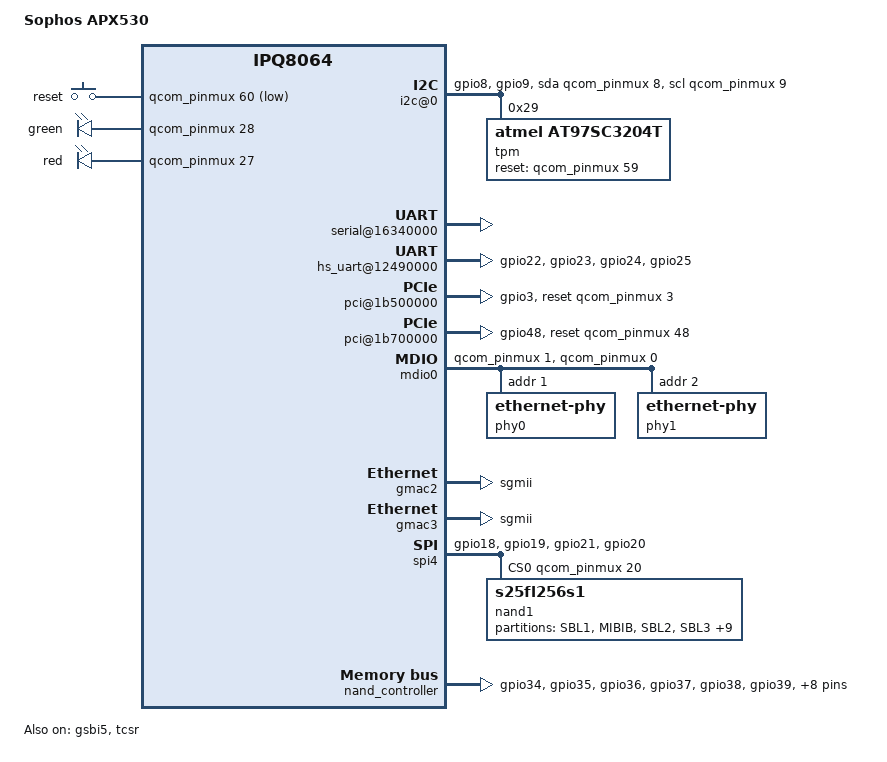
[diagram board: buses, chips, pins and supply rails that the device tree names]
// SPDX-License-Identifier: GPL-2.0-or-later OR MIT

#include "qcom-ipq8064-v1.0.dtsi"
#include <dt-bindings/interrupt-controller/arm-gic.h>
#include <dt-bindings/interrupt-controller/irq.h>
#include <dt-bindings/input/input.h>
#include <dt-bindings/gpio/gpio.h>

/ {
	model = "Sophos APX530";
	compatible = "sophos,apx530", "qcom,ipq8064";

	reserved-memory {
		#address-cells = <1>;
		#size-cells = <1>;
		ranges;
		rsvd@41200000 {
			reg = <0x41200000 0x300000>;
			no-map;
		};
	};

	aliases {
		mdio-gpio0 = &mdio0;
		ethernet0 = &gmac3;
		ethernet1 = &gmac2;
	};

	soc {


		i2c@0 {
			compatible = "i2c-gpio";
			pinctrl-0 = <&i2c_pins>;
			gpios = <&qcom_pinmux 8 0>,
				<&qcom_pinmux 9 0>;
			i2c-gpio,delay-us = <2>;	/* ~100 kHz */
			#address-cells = <1>;
			#size-cells = <0>;
			status="okay";
			tpm@0x29 {
				reg = <0x29>;
				compatible = "atmel,at97sc3204t";
				reset-gpio = <&qcom_pinmux 59 0>;
			};
		};

		gsbi@16300000 {
			qcom,mode = <GSBI_PROT_I2C_UART>;
			status = "okay";
			serial@16340000 {
				status = "okay";
			};
		};

		gsbi2: gsbi@12480000 {
			qcom,mode = <GSBI_PROT_UART_W_FC>;
			status = "okay";
			hs_uart@12490000 {
				uartdm_rx_buf_size = <1024>;
				qcom,rx-chan = <8>;
				qcom,tx-chan = <7>;
				qcom,rx-crci = <14>;
				qcom,tx-crci = <4>;
				qcom,tcsr_adm_mux_sel_reg = <IPQ806X_TCSR_REG_A_ADM_CRCI_MUX_SEL>;
				qcom,tcsr_adm_mux_sel_reg_mask = <IPQ806X_GSBI2_ADM_CRCI_MUX_SEL_MASK>;
				qcom,tcsr_adm_mux_sel_reg_value = <GSBI_CRCI_UART>;
				pinctrl-0 = <&hs_uart_pins>;
				pinctrl-names = "default";

				status = "okay";
			};
		};



		pci@1b500000 {
			status = "okay";
			reset-gpio = <&qcom_pinmux 3 0>;
			pinctrl-0 = <&pcie1_pins>;
			pinctrl-names = "default";

			ranges = <0x00000000 0 0x00000000 0x0ff00000 0 0x00100000   /* configuration space */
				  0x81000000 0 0	  0x0fe00000 0 0x00100000   /* downstream I/O */
				  0x82000000 0 0x00000000 0x08000000 0 0x07e00000>; /* non-prefetchable memory */
		};

		pci@1b700000 {
			status = "okay";
			reset-gpio = <&qcom_pinmux 48 0>;
			pinctrl-0 = <&pcie2_pins>;
			pinctrl-names = "default";

			ranges = <0x00000000 0 0x00000000 0x31f00000 0 0x00100000   /* configuration space */
				  0x81000000 0 0	  0x31e00000 0 0x00100000   /* downstream I/O */
				  0x82000000 0 0x00000000 0x2e000000 0 0x03e00000>; /* non-prefetchable memory */

		};



		dma@18300000 {
			status = "okay";
		};

		gpio_keys {
			compatible = "gpio-keys";

			button@1 {
				label = "reset";
				linux,code = <KEY_RESTART>;
				gpios = <&qcom_pinmux 60 GPIO_ACTIVE_LOW>;
				linux,input-type = <1>;
				debounce-interval = <60>;
			};
		};

		gpio-leds {
			compatible = "gpio-leds";
			pinctrl-0 = <&led_0_pins>;

			led_green@0 {
				gpios = <&qcom_pinmux 28 0>;
				label = "green";
				default-state = "on";
				linux,default-trigger = "timer";
			};

			led_red@1 {
				gpios = <&qcom_pinmux 27 0>;
				label = "red";
				default-state = "off";
			};
		};

		mdio0: mdio {
			compatible = "virtual,mdio-gpio";
			#address-cells = <1>;
			#size-cells = <0>;
			gpios = <&qcom_pinmux 1 0 &qcom_pinmux 0 0>;

			phy0: ethernet-phy@0 {
				device_type = "ethernet-phy";
				reg = <1>;
			};

			phy1: ethernet-phy@1 {
				device_type = "ethernet-phy";
				reg = <2>;
			};
		};

		nss0: nss@40000000 {
			compatible = "qcom,nss";
			interrupts = <GIC_SPI 213 IRQ_TYPE_LEVEL_HIGH>,
				     <GIC_SPI 232 IRQ_TYPE_LEVEL_HIGH>;
			reg = <0x36000000 0x1000 0x39000000 0x10000>;
			reg-names = "nphys", "vphys";
			clocks = <&gcc NSS_CORE_CLK>, <&gcc NSSTCM_CLK_SRC>,
				 <&gcc NSSTCM_CLK>, <&nss_fabric0_clk>,
				 <&nss_fabric1_clk>;
			clock-names = "nss-core-clk", "nss-tcm-src",
				      "nss-tcm-clk", "nss-fab0-clk",
				      "nss-fab1-clk";
			resets = <&gcc UBI32_CORE1_CLKRST_CLAMP_RESET>,
				 <&gcc UBI32_CORE1_CLAMP_RESET>,
				 <&gcc UBI32_CORE1_AHB_RESET>,
				 <&gcc UBI32_CORE1_AXI_RESET>;
			reset-names = "clkrst-clamp", "clamp", "ahb", "axi";

			qcom,id = <0>;
			qcom,num-irq = <2>;
			qcom,num-queue = <2>;
			qcom,load-addr = <0x40000000>;
			qcom,turbo-frequency;

			qcom,ipv4-enabled;
			qcom,ipv6-enabled;
			qcom,l2tpv2-enabled;
			qcom,map-t-enabled;
			qcom,pptp-enabled;
			qcom,portid-enabled;
			qcom,shaping-enabled;
			qcom,tun6rd-enabled;
			qcom,tunipip6-enabled;
			qcom,wlan-dataplane-offload-enabled;
			qcom,wlanredirect-enabled;
		};

		nss1: nss@40800000 {
			compatible = "qcom,nss";
			interrupts = <GIC_SPI 214 IRQ_TYPE_LEVEL_HIGH>,
				     <GIC_SPI 233 IRQ_TYPE_LEVEL_HIGH>;
			reg = <0x36400000 0x1000 0x39010000 0x10000>;
			reg-names = "nphys", "vphys";
			resets = <&gcc UBI32_CORE2_CLKRST_CLAMP_RESET>,
				 <&gcc UBI32_CORE2_CLAMP_RESET>,
				 <&gcc UBI32_CORE2_AHB_RESET>,
				 <&gcc UBI32_CORE2_AXI_RESET>;
			reset-names = "clkrst-clamp", "clamp", "ahb", "axi";

			qcom,id = <1>;
			qcom,num-irq = <2>;
			qcom,num-queue = <2>;
			qcom,load-addr = <0x40800000>;
			qcom,turbo-frequency;

			qcom,capwap-enabled;
			qcom,crypto-enabled;
			qcom,dtls-enabled;
			qcom,ipsec-enabled;
		};

		gmac0: ethernet@37000000 {
			device_type = "network";
			compatible = "qcom,nss-gmac";
			reg = <0x37000000 0x200000>;
			interrupts = <GIC_SPI 220 IRQ_TYPE_LEVEL_HIGH>;
			phy-mode = "sgmii";
			qcom,id = <0>;
			qcom,pcs-chanid = <2>;
			qcom,phy-mdio-addr = <5>;
			qcom,poll-required = <1>;
			qcom,rgmii-delay = <0>;
			qcom,emulation = <0>;
			qcom,forced-speed = <0>;
			qcom,forced-duplex = <0>;
			qcom,socver = <0>;
			local-mac-address = [000000000000];
			mdiobus = <&mdio0>;
			status = "disabled";
		};

		gmac1: ethernet@37200000 {
			device_type = "network";
			compatible = "qcom,nss-gmac";
			reg = <0x37200000 0x200000>;
			interrupts = <GIC_SPI 223 IRQ_TYPE_LEVEL_HIGH>;
			phy-mode = "sgmii";
			qcom,id = <1>;
			qcom,pcs-chanid = <1>;
			qcom,phy-mdio-addr = <4>;
			qcom,poll-required = <1>;
			qcom,rgmii-delay = <0>;
			qcom,emulation = <0>;
			qcom,forced-speed = <0>;
			qcom,forced-duplex = <0>;
			qcom,socver = <0>;
			local-mac-address = [000000000000];
			mdiobus = <&mdio0>;
			status = "disabled";
		};

		gmac2: ethernet@37400000 {
			device_type = "network";
			compatible = "qcom,nss-gmac";
			reg = <0x37400000 0x200000>;
			interrupts = <GIC_SPI 226 IRQ_TYPE_LEVEL_HIGH>;
			phy-mode = "sgmii";
			qcom,id = <2>;
			qcom,pcs-chanid = <2>;
			qcom,phy-mdio-addr = <1>;
			qcom,poll-required = <1>;
			qcom,rgmii-delay = <0>;
			qcom,emulation = <0>;
			qcom,forced-speed = <0>;
			qcom,forced-duplex = <0>;
			qcom,socver = <0>;
			local-mac-address = [000000000000];
			mdiobus = <&mdio0>;
		};

		gmac3: ethernet@37600000 {
			device_type = "network";
			compatible = "qcom,nss-gmac";
			reg = <0x37600000 0x200000>;
			interrupts = <0 229 4>;
			phy-mode = "sgmii";
			qcom,id = <3>;
			qcom,pcs-chanid = <3>;
			qcom,phy-mdio-addr = <2>;
			qcom,poll-required = <1>;
			qcom,rgmii-delay = <0>;
			qcom,emulation = <0>;
			qcom,forced-speed = <0>;
			qcom,forced-duplex = <0>;
			qcom,mmds-mask = <0>;
			qcom,socver = <0>;
			local-mac-address = [000000000000];
			mdiobus = <&mdio0>;
		  };
	};
};

&qcom_pinmux {
	pinctrl-0 = <&led_0_pins>;
	pinctrl-names = "default";

	rpm_i2c_pinmux: rpm_i2c_pinmux {
		mux {
			pins = "gpio12", "gpio13";
			function = "gsbi4";
			drive-strength = <12>;
			bias-disable;
		};
	};

	pcie1_pins: pcie1_pinmux {
		mux {
			pins = "gpio3";
			drive-strength = <2>;
			bias-disable;
		};
	};

	pcie2_pins: pcie2_pinmux {
		mux {
			pins = "gpio48";
			drive-strength = <2>;
			bias-disable;
		};
	};

	spi_pins: spi_pins {
		mux {
			pins = "gpio18", "gpio19", "gpio21";
			function = "gsbi5";
			drive-strength = <10>;
			bias-none;
		};
		cs {
			pins = "gpio20";
			drive-strength = <12>;
		};
	};

	nand_pins: nand_pins {
		mux {
			pins = "gpio34", "gpio35", "gpio36",
				"gpio37", "gpio38", "gpio39",
				"gpio40", "gpio41", "gpio42",
				"gpio43", "gpio44", "gpio45",
				"gpio46", "gpio47";
			function = "nand";
			drive-strength = <10>;
			bias-disable;
		};
		pullups {
			pins = "gpio39";
			bias-pull-up;
		};
		hold {
			pins = "gpio40", "gpio41", "gpio42",
				"gpio43", "gpio44", "gpio45",
				"gpio46", "gpio47";
			bias-bus-hold;
		};
	};

	hs_uart_pins: hs_uart_pins {
		mux {
			pins = "gpio22", "gpio23", "gpio24", "gpio25" ;
			function = "gsbi2";
			drive-strength = <12>;
			bias-disable;
		};
	};

	led_0_pins: led_pins {
		mux {
			pins = "gpio27", "gpio28";
			function = "gpio";
			drive-strength = <2>;
			bias-pull-down;
			output-low;
		};
	};

	i2c_pins: i2c_pins {
		mux {
			pins = "gpio8", "gpio9";
			function = "gpio";
			drive-open-drain;
		};
	};
};

&gsbi5 {
	status = "okay";
	qcom,mode = <GSBI_PROT_SPI>;

	spi4: spi@1a280000 {
		status = "okay";

		pinctrl-0 = <&spi_pins>;
		pinctrl-names = "default";
		cs-gpios = <&qcom_pinmux 20 0>;

		dmas = <&adm_dma 6 9>,
			<&adm_dma 5 10>;
		dma-names = "rx", "tx";

		nand1: flash@0 {
			compatible = "s25fl256s1";
			#address-cells = <1>;
			#size-cells = <1>;
			reg = <0>;
			m25p,fast-read;


			partitions {
				compatible = "fixed-partitions";
				#address-cells = <1>;
				#size-cells = <1>;

				partition@0 {
					label = "SBL1";
					reg = <0x0 0x10000>;
					read-only;
				}

				partition@10000 {
					label = "MIBIB";
					reg = <0x10000 0x20000>;
					read-only;
				};

				partition@30000 {
					label = "SBL2";
					reg = <0x30000 0x30000>;
					read-only;
				};

				partition@60000 {
					label = "SBL3";
					reg = <0x60000 0x30000>;
					read-only;
				};

				partition@90000 {
					label = "DDRCONFIG";
					reg = <0x90000 0x10000>;
					read-only;
				};

				partition@a0000 {
					label = "APPSBLENV";
					reg = <0xa0000 0x10000>;
				};

				art: partition@b0000 {
					label = "ART";
					reg = <0xb0000 0x10000>;
					read-only;
				};

				partition@c0000 {
					label = "TZ";
					reg = <0xc0000 0x30000>;
					read-only;
				};

				partition@f0000 {
					label = "RPM";
					reg = <0xf0000 0x20000>;
					read-only;
				};

				partition@110000 {
					label = "APPSBL";
					reg = <0x110000 0x90000>;
					read-only;
				};

				partition@1a0000 {
					label = "stat_cfg";
					reg = <0x1a0000 0x60000>;
					read-only;
				};

				partition@200000 {
					label = "dyn_cfg";
					reg = <0x200000 0x100000>;
					read-only;
				};

				partition@300000 {
					label = "dyn_cfg_backup";
					reg = <0x300000 0x100000>;
					read-only;
				};
			};
		};
	};
};

&rpm {
	pinctrl-0 = <&rpm_i2c_pinmux>;
	pinctrl-names = "default";
};

&adm_dma {
	status = "okay";
}

&nand_controller {
	status = "okay";

	pinctrl-0 = <&nand_pins>;
	pinctrl-names = "default";
};

&tcsr {
	status = "okay";
	qcom,usb-ctrl-select = <TCSR_USB_SELECT_USB3_DUAL>;
};

&hs_phy_0 {
	status = "disabled";
}

&ss_phy_0 {
	status = "disabled";
}

&hs_phy_1 {
	status = "disabled";
}

&ss_phy_1 {
	status = "disabled";
}
